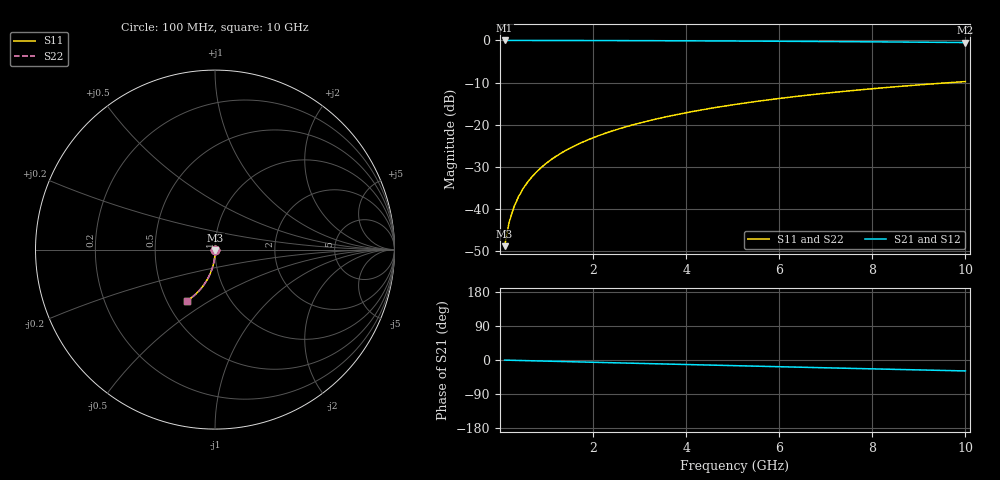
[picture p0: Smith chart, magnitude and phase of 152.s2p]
# Hz S RI R 50.00
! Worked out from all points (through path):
!   100 points, 100 MHz to 10 GHz, reference 50 ohm
!   highest |S21| = -0.01 dB at 100 MHz (marker M1); lowest = -0.5 dB at 10 GHz (marker M2)
!   group delay of S21, straight-line fit = 8.04 ps
!   lowest |S11| = -48.8 dB at 100 MHz (marker M3), VSWR 1.01, Z = 50.1 - j0.353 ohm
!   |S11| at or under -10 dB: start of sweep to 9.668 GHz
!   |S22| runs from -48.8 to -9.7 dB; largest |S21 - S12| = 0
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1e8  0.000938 -0.00353  0.999 -0.00522  0.999 -0.00522  0.000938 -0.00353
2e8  0.000885 -0.00705  0.9989 -0.0104  0.9989 -0.0104  0.000885 -0.00705
3e8  0.000794 -0.0106  0.9988 -0.0156  0.9988 -0.0156  0.000794 -0.0106
4e8  0.000665 -0.0141  0.9987 -0.0209  0.9987 -0.0209  0.000665 -0.0141
5e8  0.000498 -0.0176  0.9985 -0.0261  0.9985 -0.0261  0.000498 -0.0176
6e8  0.000295 -0.0211  0.9983 -0.0313  0.9983 -0.0313  0.000295 -0.0211
7e8  5.5e-05 -0.0247  0.998 -0.0365  0.998 -0.0365  5.5e-05 -0.0247
8e8  -0.000222 -0.0282  0.9977 -0.0417  0.9977 -0.0417  -0.000222 -0.0282
9e8  -0.000536 -0.0317  0.9974 -0.0469  0.9974 -0.0469  -0.000536 -0.0317
1.1e9  -0.00127 -0.0387  0.9966 -0.0573  0.9966 -0.0573  -0.00127 -0.0387
1.4e9  -0.00265 -0.0491  0.9951 -0.0728  0.9951 -0.0728  -0.00265 -0.0491
1.8e9  -0.005 -0.063  0.9925 -0.0934  0.9925 -0.0934  -0.005 -0.063
2.1e9  -0.00713 -0.0733  0.9902 -0.1088  0.9902 -0.1088  -0.00713 -0.0733
2.5e9  -0.0105 -0.0869  0.9866 -0.1292  0.9866 -0.1292  -0.0105 -0.0869
2.9e9  -0.0144 -0.1004  0.9824 -0.1494  0.9824 -0.1494  -0.0144 -0.1004
3.4e9  -0.02 -0.1169  0.9763 -0.1744  0.9763 -0.1744  -0.02 -0.1169
4.2e9  -0.0306 -0.1425  0.9647 -0.2135  0.9647 -0.2135  -0.0306 -0.1425
5.1e9  -0.045 -0.1699  0.9491 -0.2563  0.9491 -0.2563  -0.045 -0.1699
5.9e9  -0.0597 -0.1929  0.9332 -0.2928  0.9332 -0.2928  -0.0597 -0.1929
6.7e9  -0.076 -0.2144  0.9154 -0.328  0.9154 -0.328  -0.076 -0.2144
8.4e9  -0.1152 -0.2547  0.8723 -0.3974  0.8723 -0.3974  -0.1152 -0.2547
1e10  -0.1565 -0.2855  0.8266 -0.4556  0.8266 -0.4556  -0.1565 -0.2855
